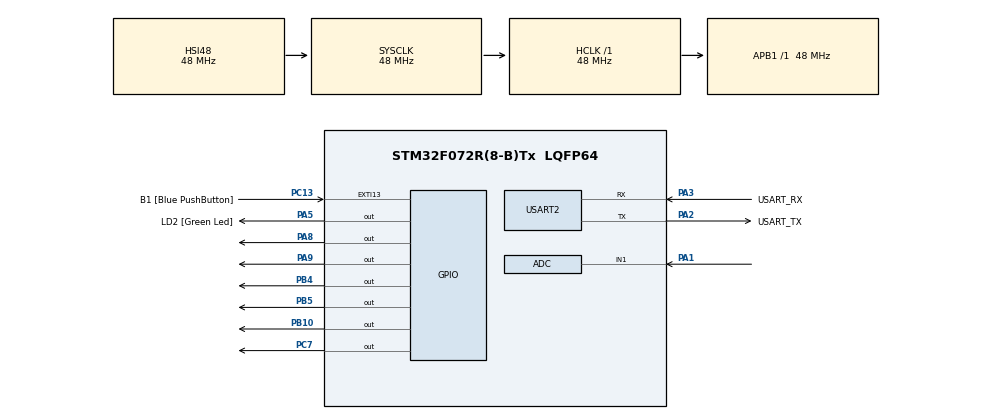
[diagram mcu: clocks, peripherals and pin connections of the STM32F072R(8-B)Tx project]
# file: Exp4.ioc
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Mcu.Family=STM32F0
Mcu.Name=STM32F072R(8-B)Tx
Mcu.Package=LQFP64
PA1.Mode=IN1
PA1.Signal=ADC_IN1
PA13.GPIO_Label=TMS
PA13.Mode=Serial_Wire
PA13.Signal=SYS_SWDIO
PA14.GPIO_Label=TCK
PA14.Mode=Serial_Wire
PA14.Signal=SYS_SWCLK
PA2.GPIO_Label=USART_TX
PA2.GPIO_Mode=GPIO_MODE_AF_PP
PA2.GPIO_PuPd=GPIO_NOPULL
PA2.GPIO_Speed=GPIO_SPEED_FREQ_LOW
PA2.Mode=Asynchronous
PA2.Signal=USART2_TX
PA3.GPIO_Label=USART_RX
PA3.GPIO_Mode=GPIO_MODE_AF_PP
PA3.GPIO_PuPd=GPIO_NOPULL
PA3.GPIO_Speed=GPIO_SPEED_FREQ_LOW
PA3.Mode=Asynchronous
PA3.Signal=USART2_RX
PA5.GPIO_Label=LD2 [Green Led]
PA5.GPIO_Mode=GPIO_MODE_OUTPUT_PP
PA5.GPIO_PuPd=GPIO_NOPULL
PA5.GPIO_Speed=GPIO_SPEED_FREQ_LOW
PA5.Signal=GPIO_Output
PA8.Signal=GPIO_Output
PA9.Signal=GPIO_Output
PB10.Signal=GPIO_Output
PB4.Signal=GPIO_Output
PB5.Signal=GPIO_Output
PC13.GPIO_Label=B1 [Blue PushButton]
PC13.GPIO_ModeDefaultEXTI=GPIO_MODE_IT_FALLING
PC13.Signal=GPXTI13
PC14-OSC32_IN.Mode=LSE-External-Oscillator
PC14-OSC32_IN.Signal=RCC_OSC32_IN
PC15-OSC32_OUT.Mode=LSE-External-Oscillator
PC15-OSC32_OUT.Signal=RCC_OSC32_OUT
PC7.Signal=GPIO_Output
PF0-OSC_IN.Mode=HSE-External-Clock-Source
PF0-OSC_IN.Signal=RCC_OSC_IN
PF1-OSC_OUT.Signal=RCC_OSC_OUT
ProjectManager.HeapSize=0x200
ProjectManager.StackSize=0x400
ProjectManager.TargetToolchain=STM32CubeIDE
RCC.AHBFreq_Value=48000000
RCC.APB1Freq_Value=48000000
RCC.APB1TimFreq_Value=48000000
RCC.FLatency-AdvancedSettings=FLASH_LATENCY_1
RCC.HCLKFreq_Value=48000000
RCC.PLLDivider=RCC_PREDIV_DIV2
RCC.PLLMUL=RCC_PLL_MUL12
RCC.PREFETCH_ENABLE-AdvancedSettings=1
RCC.SYSCLKFreq_VALUE=48000000
RCC.SYSCLKSource=RCC_SYSCLKSOURCE_HSI48
USART2.VirtualMode=VM_ASYNC
USART2.VirtualMode-Asynchronous=VM_ASYNC
board=NUCLEO-F072RB

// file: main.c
/* USER CODE BEGIN Header */
/**
  ******************************************************************************
  * @file           : main.c
  * @brief          : Main program body
  ******************************************************************************
  * @attention
  *
  * Copyright (c) 2022 STMicroelectronics.
  * All rights reserved.
  *
  * This software is licensed under terms that can be found in the LICENSE file
  * in the root directory of this software component.
  * If no LICENSE file comes with this software, it is provided AS-IS.
  *
  ******************************************************************************
  */
/* USER CODE END Header */
#include "main.h"

/* USER CODE BEGIN Includes */
#include "stdio.h"
#include "stdlib.h"
/* USER CODE END Includes */

/* USER CODE BEGIN PD */
#define cursor_off     0x0c
#define cursor_on      0x0e
#define cursor_blink   0x0f

#define rs_0			GPIOA -> BRR = 1<<9
#define rs_1			GPIOA -> BSRR = 1<<9
#define en_0			GPIOC -> BRR = 1<<7
#define en_1			GPIOC -> BSRR = 1<<7

/*
#define inc	 	(GPIOC->IDR & (1<<6))
#define dec  	(GPIOC->IDR & (1<<5))
#define enter 	(GPIOB->IDR & (1<<15))
*/

#define pb5_0 GPIOB->BRR = 1<<5 			/*PB5(D4) on/off */
#define pb5_1 GPIOB->BSRR = 1<<5
#define pb4_0 GPIOB->BRR = 1<<4 			/*PB4(D5) on/off */
#define pb4_1 GPIOB->BSRR = 1<<4
#define pb10_0 GPIOB->BRR = 1<<10 			/*PB10(D6) on/off */
#define pb10_1 GPIOB->BSRR = 1<<10
#define pa8_0 GPIOA->BRR = 1<<8 			/*PA8(D7)*/
#define pa8_1 GPIOA->BSRR = 1<<8

/* USER CODE END PD */

 ADC_HandleTypeDef hadc;

UART_HandleTypeDef huart2;

/* USER CODE BEGIN PV */
const unsigned char tab_char[64] =
{
 0x0e, 0x1b, 0x04, 0x04, 0x07, 0x10, 0x0e, 0x00,
 0x0e, 0x04, 0x0e, 0x15, 0x17, 0x11, 0x0e, 0x00,
};
/* USER CODE END PV */

void SystemClock_Config(void);
static void MX_GPIO_Init(void);
static void MX_USART2_UART_Init(void);
static void MX_ADC_Init(void);
/* USER CODE BEGIN PFP */

void lcd_wrcom4(uint8_t com4);
void lcd_wrcom(uint8_t com);
void lcd_wrchar(unsigned char ch);
void lcd_wr2dig(uint8_t val);
void lcd_init(uint8_t cursor);
void lcd_goto(uint8_t x, uint8_t y);
void lcd_wrstr(char *str);
void udelay(void);
void delayus(uint16_t tempo);
int __io_putchar(int ch);
void lcd_clear();
void lcd_backlight(uint8_t backlight);
void lcd_progchar(void);

/* USER CODE END PFP */

int main(void)
{

  /* MCU Configuration--------------------------------------------------------*/

  /* Reset of all peripherals, Initializes the Flash interface and the Systick. */
  HAL_Init();

  /* Configure the system clock */
  SystemClock_Config();

  /* Initialize all configured peripherals */
  MX_GPIO_Init();
  MX_USART2_UART_Init();
  MX_ADC_Init();
  /* USER CODE BEGIN 2 */
  int leitura;

  	  HAL_ADC_Init(&hadc);

  	  lcd_init(cursor_off);
      lcd_clear(0x01);
    //  lcd_goto(1,0);
   //   lcd_progchar();
     // printf("ConversÃ£o AD/n");

  /* USER CODE END 2 */

  /* Infinite loop */
  while (1)
  {

    /* USER CODE BEGIN 3 */

	  HAL_ADC_Start(&hadc);
	  HAL_ADC_PollForConversion(&hadc,10);
	  leitura = HAL_ADC_GetValue(&hadc);
	  HAL_ADC_Stop(&hadc);

	  	 lcd_goto(0,0);
	  	printf("Leitura Teclado\n");

	  	if(leitura>3610 && leitura<3660)
	  		  	{
	  			    lcd_goto(0,1);
	  		  		printf("Nothing    \n");
	  				HAL_Delay(200);
	  		  	}

	  	if(leitura>400 && leitura<470)
	  	{
		    lcd_goto(0,1);
	  		printf("Tecla : 0\n");
			HAL_Delay(200);
	  	}
		if(leitura>2040 && leitura<2100)
		  	{
			 	lcd_goto(0,1);
				printf("Tecla : 1\n");
				HAL_Delay(200);
		  	}
		if(leitura>2440 && leitura<2500)
				  	{
						lcd_goto(0,1);
						printf("Tecla : 2\n");
						HAL_Delay(200);
				  	}
		if(leitura>2940 && leitura<2970)
						  	{
			 lcd_goto(0,1);
								printf("Tecla : 3\n");
								HAL_Delay(200);
						  	}
		if(leitura>1230 && leitura<1260)
						  	{ lcd_goto(0,1);
								printf("Tecla : 4\n");
								HAL_Delay(200);
						  	}
		if(leitura>1640 && leitura<1680)
						  	{ lcd_goto(0,1);
								printf("Tecla : 5\n");
								HAL_Delay(200);
						  	}
		if(leitura>2230 && leitura<2280)
						  	{ lcd_goto(0,1);
								printf("Tecla : 6\n");
								HAL_Delay(200);
						  	}
		if(leitura>700 && leitura<740)
						  	{ lcd_goto(0,1);
								printf("Tecla : 7\n");
								HAL_Delay(200);
						  	}
		if(leitura>990 && leitura<1030)
						  	{ lcd_goto(0,1);
								printf("Tecla : 8\n");
								HAL_Delay(200);
						  	}
		if(leitura>1530 && leitura<1580)
						  	{ lcd_goto(0,1);
								printf("Tecla : 9\n");
								HAL_Delay(200);
						  	}
		if(leitura>220 && leitura<250)
						  	{ lcd_goto(0,1);
								printf("Tecla : *\n");
								HAL_Delay(200);
						  	}
		if(leitura>870 && leitura<920)
						  	{ lcd_goto(0,1);
								printf("Tecla : #\n");
								HAL_Delay(200);
						  	}

	  	 }
	   /* V=0.0806*leitura;
	    printf("Tecla Pressionada %.2f %cC\n",V,223);
	    HAL_Delay(200);//
*/

  }
  /* USER CODE END 3 */

void SystemClock_Config(void)
{
  RCC_OscInitTypeDef RCC_OscInitStruct = {0};
  RCC_ClkInitTypeDef RCC_ClkInitStruct = {0};
  RCC_PeriphCLKInitTypeDef PeriphClkInit = {0};

  /** Initializes the RCC Oscillators according to the specified parameters
  * in the RCC_OscInitTypeDef structure.
  */
  RCC_OscInitStruct.OscillatorType = RCC_OSCILLATORTYPE_HSI14|RCC_OSCILLATORTYPE_HSI48;
  RCC_OscInitStruct.HSI48State = RCC_HSI48_ON;
  RCC_OscInitStruct.HSI14State = RCC_HSI14_ON;
  RCC_OscInitStruct.HSI14CalibrationValue = 16;
  RCC_OscInitStruct.PLL.PLLState = RCC_PLL_NONE;
  if (HAL_RCC_OscConfig(&RCC_OscInitStruct) != HAL_OK)
  {
    Error_Handler();
  }

  /** Initializes the CPU, AHB and APB buses clocks
  */
  RCC_ClkInitStruct.ClockType = RCC_CLOCKTYPE_HCLK|RCC_CLOCKTYPE_SYSCLK
                              |RCC_CLOCKTYPE_PCLK1;
  RCC_ClkInitStruct.SYSCLKSource = RCC_SYSCLKSOURCE_HSI48;
  RCC_ClkInitStruct.AHBCLKDivider = RCC_SYSCLK_DIV1;
  RCC_ClkInitStruct.APB1CLKDivider = RCC_HCLK_DIV1;

  if (HAL_RCC_ClockConfig(&RCC_ClkInitStruct, FLASH_LATENCY_1) != HAL_OK)
  {
    Error_Handler();
  }
  PeriphClkInit.PeriphClockSelection = RCC_PERIPHCLK_USART2;
  PeriphClkInit.Usart2ClockSelection = RCC_USART2CLKSOURCE_PCLK1;
  if (HAL_RCCEx_PeriphCLKConfig(&PeriphClkInit) != HAL_OK)
  {
    Error_Handler();
  }
}

static void MX_ADC_Init(void)
{

  ADC_ChannelConfTypeDef sConfig = {0};

  /** Configure the global features of the ADC (Clock, Resolution, Data Alignment and number of conversion)
  */
  hadc.Instance = ADC1;
  hadc.Init.ClockPrescaler = ADC_CLOCK_ASYNC_DIV1;
  hadc.Init.Resolution = ADC_RESOLUTION_12B;
  hadc.Init.DataAlign = ADC_DATAALIGN_RIGHT;
  hadc.Init.ScanConvMode = ADC_SCAN_DIRECTION_FORWARD;
  hadc.Init.EOCSelection = ADC_EOC_SINGLE_CONV;
  hadc.Init.LowPowerAutoWait = DISABLE;
  hadc.Init.LowPowerAutoPowerOff = DISABLE;
  hadc.Init.ContinuousConvMode = DISABLE;
  hadc.Init.DiscontinuousConvMode = DISABLE;
  hadc.Init.ExternalTrigConv = ADC_SOFTWARE_START;
  hadc.Init.ExternalTrigConvEdge = ADC_EXTERNALTRIGCONVEDGE_NONE;
  hadc.Init.DMAContinuousRequests = DISABLE;
  hadc.Init.Overrun = ADC_OVR_DATA_PRESERVED;
  if (HAL_ADC_Init(&hadc) != HAL_OK)
  {
    Error_Handler();
  }

  /** Configure for the selected ADC regular channel to be converted.
  */
  sConfig.Channel = ADC_CHANNEL_1;
  sConfig.Rank = ADC_RANK_CHANNEL_NUMBER;
  sConfig.SamplingTime = ADC_SAMPLETIME_1CYCLE_5;
  if (HAL_ADC_ConfigChannel(&hadc, &sConfig) != HAL_OK)
  {
    Error_Handler();
  }

}

static void MX_USART2_UART_Init(void)
{

  huart2.Instance = USART2;
  huart2.Init.BaudRate = 38400;
  huart2.Init.WordLength = UART_WORDLENGTH_8B;
  huart2.Init.StopBits = UART_STOPBITS_1;
  huart2.Init.Parity = UART_PARITY_NONE;
  huart2.Init.Mode = UART_MODE_TX_RX;
  huart2.Init.HwFlowCtl = UART_HWCONTROL_NONE;
  huart2.Init.OverSampling = UART_OVERSAMPLING_16;
  huart2.Init.OneBitSampling = UART_ONE_BIT_SAMPLE_DISABLE;
  huart2.AdvancedInit.AdvFeatureInit = UART_ADVFEATURE_NO_INIT;
  if (HAL_UART_Init(&huart2) != HAL_OK)
  {
    Error_Handler();
  }

}

static void MX_GPIO_Init(void)
{
  GPIO_InitTypeDef GPIO_InitStruct = {0};

  /* GPIO Ports Clock Enable */
  __HAL_RCC_GPIOC_CLK_ENABLE();
  __HAL_RCC_GPIOF_CLK_ENABLE();
  __HAL_RCC_GPIOA_CLK_ENABLE();
  __HAL_RCC_GPIOB_CLK_ENABLE();

  /*Configure GPIO pin Output Level */
  HAL_GPIO_WritePin(GPIOA, GPIO_PIN_5|GPIO_PIN_8|GPIO_PIN_9, GPIO_PIN_RESET);

  /*Configure GPIO pin Output Level */
  HAL_GPIO_WritePin(GPIOB, GPIO_PIN_10|GPIO_PIN_4|GPIO_PIN_5, GPIO_PIN_RESET);

  /*Configure GPIO pin Output Level */
  HAL_GPIO_WritePin(GPIOC, GPIO_PIN_7, GPIO_PIN_RESET);

  /*Configure GPIO pin : PC13 */
  GPIO_InitStruct.Pin = GPIO_PIN_13;
  GPIO_InitStruct.Mode = GPIO_MODE_IT_FALLING;
  GPIO_InitStruct.Pull = GPIO_NOPULL;
  HAL_GPIO_Init(GPIOC, &GPIO_InitStruct);

  /*Configure GPIO pins : PA5 PA8 PA9 */
  GPIO_InitStruct.Pin = GPIO_PIN_5|GPIO_PIN_8|GPIO_PIN_9;
  GPIO_InitStruct.Mode = GPIO_MODE_OUTPUT_PP;
  GPIO_InitStruct.Pull = GPIO_NOPULL;
  GPIO_InitStruct.Speed = GPIO_SPEED_FREQ_LOW;
  HAL_GPIO_Init(GPIOA, &GPIO_InitStruct);

  /*Configure GPIO pins : PB10 PB4 PB5 */
  GPIO_InitStruct.Pin = GPIO_PIN_10|GPIO_PIN_4|GPIO_PIN_5;
  GPIO_InitStruct.Mode = GPIO_MODE_OUTPUT_PP;
  GPIO_InitStruct.Pull = GPIO_NOPULL;
  GPIO_InitStruct.Speed = GPIO_SPEED_FREQ_LOW;
  HAL_GPIO_Init(GPIOB, &GPIO_InitStruct);

  /*Configure GPIO pin : PC7 */
  GPIO_InitStruct.Pin = GPIO_PIN_7;
  GPIO_InitStruct.Mode = GPIO_MODE_OUTPUT_PP;
  GPIO_InitStruct.Pull = GPIO_NOPULL;
  GPIO_InitStruct.Speed = GPIO_SPEED_FREQ_LOW;
  HAL_GPIO_Init(GPIOC, &GPIO_InitStruct);

}

/* USER CODE BEGIN 4 */
void lcd_send4bit(unsigned char x)
{
	if ((x & (1 << 0)) == 0) pb5_0; else pb5_1;
	if ((x & (1 << 1)) == 0) pb4_0; else pb4_1;
	if ((x & (1 << 2)) == 0) pb10_0; else pb10_1;
	if ((x & (1 << 3)) == 0) pa8_0; else pa8_1;

}
void lcd_wrcom(uint8_t com)
{
	// Envia 4 bits + significativos
	lcd_send4bit(com>>4);

    rs_0;
	en_1;
	delayus(5);
	en_0;

	// Envia 4 bits - significativos
	lcd_send4bit(com & 0x0f);
	rs_0;
	en_1;
	delayus(5);
	en_0;

	HAL_Delay(5);

}
void lcd_wrcom4(uint8_t com4)
{
	lcd_send4bit(com4);
	rs_0;
	en_1;
	delayus(5);
	en_0;
	HAL_Delay(5);

}
void lcd_wrstr(char *str)
{
	while(*str) lcd_wrchar(*(str++));
}
void lcd_progchar(void)
{
 unsigned char i;
 lcd_wrcom(0x40);
 for (i = 0; i < 16; i++)
 lcd_wrchar(tab_char[i]);
 lcd_wrcom(0x80);
}
void lcd_wrchar(unsigned char ch)   //
{
	// Envia 4 bits + significativos (bit Ã  bit)
    lcd_send4bit(ch>>4);

	rs_1;
	en_1;
	delayus(5);
	en_0;
	// Envia 4 bits - significativos (bit Ã  bit)
	lcd_send4bit(ch & 0x0f);
    rs_1;
	en_1;
	delayus(5);
	en_0;

	HAL_Delay(5);

}
void lcd_init(uint8_t cursor)  //
{
	lcd_wrcom4(3);
	lcd_wrcom4(3);
	lcd_wrcom4(3);
	lcd_wrcom4(2);
	lcd_wrcom(0x28);
	lcd_wrcom(cursor);
	lcd_wrcom(0x06);
	lcd_wrcom(0x01);
}
void lcd_goto(uint8_t x, uint8_t y)
{
	uint8_t  comando = 0x80;
	if(y==0) comando= 0x80;
	if(y==1) comando= 0xc0;
	if(y==2) comando= 0x90;
	if(y==3) comando= 0xd0;
	if(x<20) comando+=x;
	lcd_wrcom(comando);
}
int __io_putchar(int ch)
{
	 if (ch != '\n') lcd_wrchar(ch);
	return ch;
}
void udelay(void)
{
	int tempo=7;
	while(tempo--);
}
void delayus(uint16_t tempo)
{
	while(tempo--) udelay();
}
void lcd_wr2dig(uint8_t val)
{
	lcd_wrchar((val/10)+48);
	lcd_wrchar((val%10)+48);
}
void lcd_clear()
{
	lcd_wrcom(0x01);
}
void lcd_backlight(uint8_t backlight)
{
	if(backlight == 1) GPIOB -> BSRR = 1<<6;
}

/* USER CODE END 4 */

void Error_Handler(void)
{
  __disable_irq();
  while (1)
  {
  }
}
